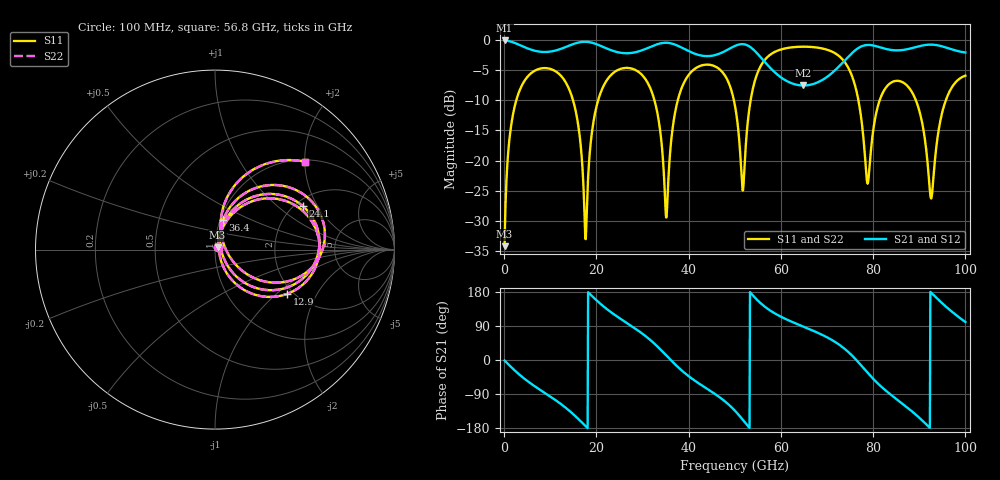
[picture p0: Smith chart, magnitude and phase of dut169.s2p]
! Touchstone file exported from HFSS 2026.1.0
!  File:  C:/ffzhzh/LocalFiles/Ansys_Project_Files/temp_train_TSV_RDL_169_1783650292_29156.aedt
!  Generated:  10:35:43 AM Jul 10, 2026
!  Design:  TSV_RDL
!  Project:  temp_train_TSV_RDL_169_1783650292_29156
! Variables:
!  h_bsmrdl = 2.42um
!  h_ox = 20um
!  h_rdl = 5um
!  h_sub = 78.24um
!  h_tmrdl = 4.84um
!  h_tsv = 78.24um
!  h_via = 3um
!  l_bsmrdl = 160.41um
!  l_sub = 3321.24um
!  l_tmrdl = 577.7um
!  m_sub = 200um
!  pitch = 56.66um
!  r_tsv = 8.2um
!  s_tmrdl = 10um
!  w_bsmrdl = 24.67um
!  w_sub = 500um
!  w_tmrdl = 18.4um
!  x_tsv_center1 = 586.9um
!  x_tsv_center2 = 771.98um
!  x_tsv_center3 = 1368.08um
!  x_tsv_center4 = 1553.16um
!  x_tsv_center5 = 2149.26um
!  x_tsv_center6 = 2334.34um
# GHz S MA R 50.000000
! Terminal data exported
! Port[1] = TM_RDL1_1_T1
! Port[2] = TM_RDL5_1_T1
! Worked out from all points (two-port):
!   1000 points, 100 MHz to 100 GHz, reference 50 ohm
!   highest |S21| = -0.12 dB at 100 MHz (marker M1); lowest = -7.6 dB at 64.9 GHz (marker M2)
!   |S21| within 3 dB of the highest: start of sweep to 55.87 GHz; 74.23 GHz to end of sweep
!   lowest |S11| = -34.2 dB at 100 MHz (marker M3), VSWR 1.04, Z = 51.4 + j1.41 ohm
!   |S11| at or under -10 dB: 14.92 GHz to 20.39 GHz (5.465 GHz wide, 31 % of centre); 32.58 GHz to 37.65 GHz (5.075 GHz wide, 14.5 % of centre); 89.25 GHz to 95.77 GHz (6.522 GHz wide, 7.05 % of centre) (the widest 3 of 6)
!   |S22| runs from -34.2 to -1.2 dB; largest |S21 - S12| = 7.9e-12
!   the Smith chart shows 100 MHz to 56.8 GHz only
!   S11 on the Smith chart (normalised r, x): 100 MHz: 1.03, +0.03; 12.9 GHz: 1.86, -1.18; 24.1 GHz: 2.20, +1.52; 36.4 GHz: 1.03, +0.35; 56.8 GHz: 1.05, +2.01
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0.1  0.01955 44.4  0.9863 -1.3  0.9863 -1.3  0.01955 44.4
! Gamma 0 0 0 0
! Port Impedance 50 0 50 0
3.4  0.384 47.4  0.9029 -39.6  0.9029 -39.6  0.384 47.4
12.9  0.4716 -31.5  0.857 -121.7  0.857 -121.7  0.4716 -31.5
16.8  0.1089 -64.3  0.9585 -164.1  0.9585 -164.1  0.109 -64.1
17.7  0.02236 19.6  0.9619 -175.1  0.9619 -175.1  0.02275 19.3
19.8  0.2571 64.5  0.9253 160.0  0.9253 160.0  0.2572 64.4
24.1  0.5464 26.2  0.7978 118.0  0.7978 118.0  0.5465 26.2
33.4  0.2273 -49.6  0.9229 33.7  0.9229 33.7  0.2273 -49.6
35.1  0.03387 -0.1  0.944 12.8  0.944 12.8  0.03422 0.0
36.4  0.1695 74.7  0.9283 -3.4  0.9283 -3.4  0.1696 74.5
42.3  0.6031 26.0  0.7458 -62.5  0.7458 -62.5  0.6031 26.0
50.1  0.2767 -35.7  0.8909 -134.7  0.8909 -134.7  0.2768 -35.7
51.8  0.05726 31.6  0.919 -158.6  0.919 -158.6  0.05771 31.5
56.8  0.7014 44.2  0.6362 138.1  0.6362 138.1  0.7015 44.1
64.9  0.8757 -2.3  0.4181 87.9  0.4181 87.9  0.8758 -2.4
66.7  0.8705 -10.8  0.4267 78.8  0.4267 78.8  0.8706 -10.9
75  0.5465 -66.8  0.7483 16.8  0.7483 16.8  0.5466 -66.9
78.8  0.06433 -31.2  0.9052 -33.8  0.9052 -33.8  0.0638 -31.4
83.4  0.4273 -0.3  0.829 -87.3  0.829 -87.3  0.4273 -0.4
89.2  0.3194 -48.0  0.868 -143.6  0.868 -143.6  0.3194 -48.2
92.6  0.04848 0.1  0.9108 177.4  0.9108 177.4  0.04771 -0.1
100  0.5039 8.8  0.7845 100.2  0.7845 100.2  0.5039 8.7
